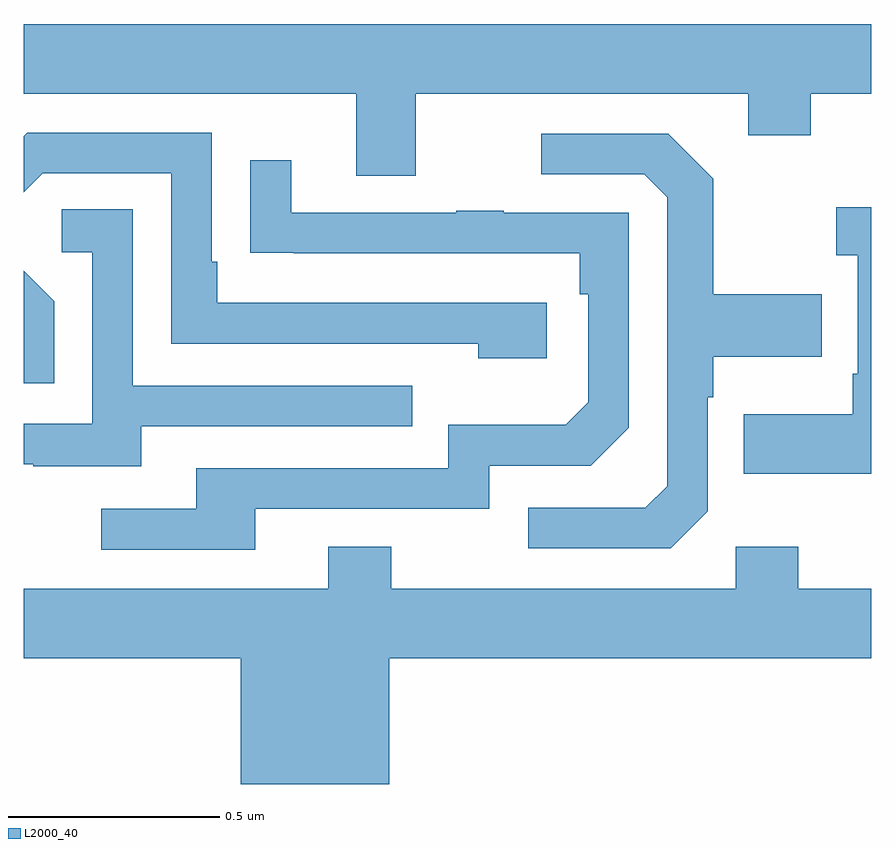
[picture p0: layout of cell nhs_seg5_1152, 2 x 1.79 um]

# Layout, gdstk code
import gdstk
lib = gdstk.Library(unit=1e-6, precision=1e-09)
def P(c, l, *ps):  # polygons
    for p in ps: c.add(gdstk.Polygon(p, *l))
L2000_40 = (2000, 40)

nhs_seg5_1152 = lib.new_cell('nhs_seg5_1152')
P(nhs_seg5_1152, L2000_40, [(126.925,855.428),(127.709,855.428),(127.709,855.329),(127.857,855.329),(127.857,855.428),(128,855.428),(128,855.592),(126,855.592),(126,855.428),(126.785,855.428),(126.785,855.234),(126.925,855.234)],
  [(127.234,854.934),(126.457,854.934),(126.457,855.031),(126.444,855.031),(126.444,855.336),(126.009,855.336),(126,855.327),(126,855.195),(126.045,855.24),(126.348,855.24),(126.348,854.838),(127.073,854.838),(127.073,854.804),(127.234,854.804)],
  [(127.614,854.442),(127.614,854.711),(127.627,854.711),(127.627,854.807),(127.883,854.807),(127.883,854.955),(127.627,854.955),(127.627,855.227),(127.521,855.333),(127.221,855.333),(127.221,855.237),(127.464,855.237),(127.518,855.183),(127.518,854.502),(127.467,854.451),(127.191,854.451),(127.191,854.355),(127.527,854.355)],
  [(126.547,854.448),(127.098,854.448),(127.098,854.55),(127.338,854.55),(127.428,854.64),(127.428,855.147),(127.133,855.147),(127.133,855.152),(127.021,855.152),(127.021,855.147),(126.631,855.147),(126.631,855.271),(126.535,855.271),(126.535,855.052),(126.637,855.052),(126.637,855.051),(127.312,855.051),(127.312,854.954),(127.332,854.954),(127.332,854.7),(127.279,854.647),(127.002,854.647),(127.002,854.544),(126.407,854.544),(126.407,854.448),(126.183,854.448),(126.183,854.352),(126.547,854.352)],
  [(128,855.16),(127.917,855.16),(127.917,855.047),(127.968,855.047),(127.968,854.767),(127.956,854.767),(127.956,854.671),(127.699,854.671),(127.699,854.531),(128,854.531)],
  [(126.277,854.643),(126.917,854.643),(126.917,854.739),(126.258,854.739),(126.258,855.155),(126.09,855.155),(126.09,855.054),(126.162,855.054),(126.162,854.649),(126,854.649),(126,854.553),(126.023,854.553),(126.023,854.549),(126.277,854.549)],
  [(126.072,854.938),(126,855.01),(126,854.745),(126.072,854.745)],
  [(126.862,854.096),(128,854.096),(128,854.26),(127.827,854.26),(127.827,854.359),(127.68,854.359),(127.68,854.26),(126.867,854.26),(126.867,854.359),(126.719,854.359),(126.719,854.26),(126,854.26),(126,854.096),(126.512,854.096),(126.512,853.799),(126.862,853.799)])

lib.write_gds('nhs_seg5_1152.gds')
